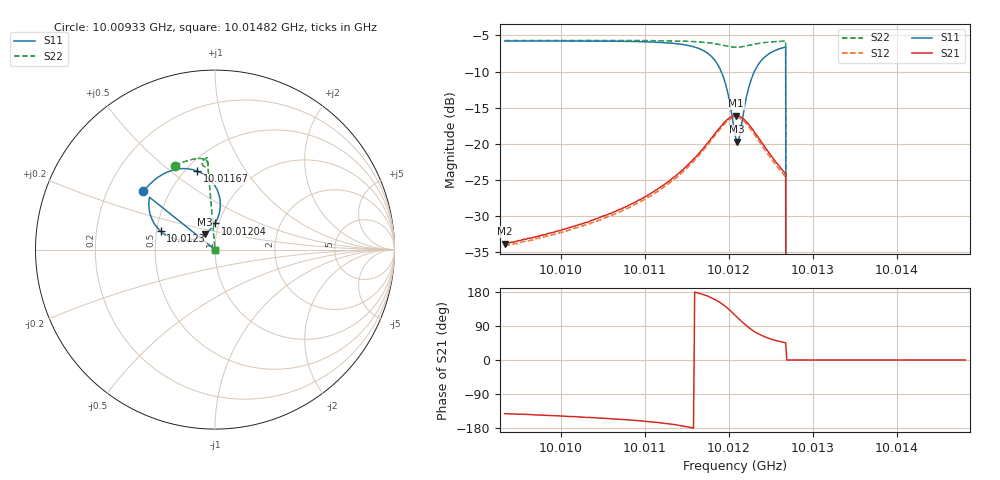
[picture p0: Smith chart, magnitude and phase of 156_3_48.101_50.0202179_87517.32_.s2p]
#  HZ  S  RI  R  50.00
! Rohde & Schwarz Vector Network Analyzer
! Rohde-Schwarz,ZNB20-2Port,1311601062101988,3.16
! Created: UTC 12/23/2023, 3:50:17 AM
! freq[Hz]  re:S11  im:S11  re:S21  im:S21  re:S12  im:S12  re:S22  im:S22
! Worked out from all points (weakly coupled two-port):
!   401 points, 10.00933 GHz to 10.01482 GHz, reference 50 ohm
!   highest |S21| = -16.10 dB at 10.01209 GHz (marker M1); lowest = -33.8 dB at 10.00933 GHz (marker M2)
!   lowest |S11| = -19.7 dB at 10.0121 GHz (marker M3), VSWR 1.23, Z = 44 + j7.7 ohm
!   |S11| at or under -10 dB: 10.01191 GHz to 10.0123 GHz (395.6 kHz wide, 0.00395 % of centre); 10.01268 GHz to end of sweep
!   |S22| runs from - to -5.7 dB; largest |S21 - S12| = 0.0078
!   S11 on the Smith chart (normalised r, x): 10.00933 GHz: 0.36, +0.31; 10.01167 GHz: 0.57, +0.63; 10.01204 GHz: 0.96, +0.28; 10.0123 GHz: 0.53, +0.12; 10.01482 GHz: 1.00, +0.00
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1.0009328e10  -0.3992 0.3244  -0.016 -0.0126  -0.0146 -0.013  -0.2218 0.4677
1.0010247e10  -0.3446 0.3817  -0.0243 -0.0135  -0.0228 -0.0142  -0.1651 0.4915
1.0010769e10  -0.2987 0.4151  -0.0339 -0.0139  -0.0319 -0.0149  -0.1304 0.5017
1.0011166e10  -0.2448 0.44  -0.0477 -0.0126  -0.0453 -0.0142  -0.1014 0.5068
1.0011427e10  -0.1876 0.4511  -0.0639 -0.00743  -0.0611 -0.0104  -0.0799 0.5074
1.0011674e10  -0.0981 0.437  -0.0898 0.00938  -0.087 0.00443  -0.0573 0.5021
1.0011811e10  -0.0268 0.3896  -0.1076 0.0349  -0.106 0.0285  -0.045 0.4929
1.0011907e10  0.0188 0.3159  -0.1144 0.0673  -0.1147 0.0597  -0.0397 0.4818
1.0011976e10  0.0292 0.2354  -0.109 0.0976  -0.1102 0.0903  -0.0408 0.4722
1.0012044e10  -0.000261 0.1454  -0.0872 0.1282  -0.0906 0.1212  -0.0473 0.4644
1.0012072e10  -0.0251 0.1132  -0.0745 0.1377  -0.0777 0.131  -0.0512 0.4627
1.0012085e10  -0.0397 0.0992  -0.0675 0.1413  -0.0706 0.1351  -0.0532 0.4623
1.0012099e10  -0.0563 0.0865  -0.0598 0.1444  -0.0631 0.1384  -0.0554 0.4623
1.0012127e10  -0.092 0.0669  -0.0445 0.1482  -0.0483 0.142  -0.0595 0.4629
1.0012223e10  -0.2217 0.0583  0.00498 0.139  0.00117 0.134  -0.0698 0.4727
1.0012305e10  -0.3015 0.1016  0.0317 0.1158  0.0259 0.1126  -0.071 0.484
1.0012442e10  -0.3587 0.1892  0.0464 0.0798  0.0413 0.078  -0.0634 0.4989
1.0012648e10  -0.3665 0.2829  0.0443 0.0469  0.0404 0.0464  -0.0461 0.5108
1.0012716e10  0 0  0 0  0 0  0 0
1.0012991e10  0 0  0 0  0 0  0 0
1.001391e10  0 0  0 0  0 0  0 0
1.0014815e10  0 0  0 0  0 0  0 0
